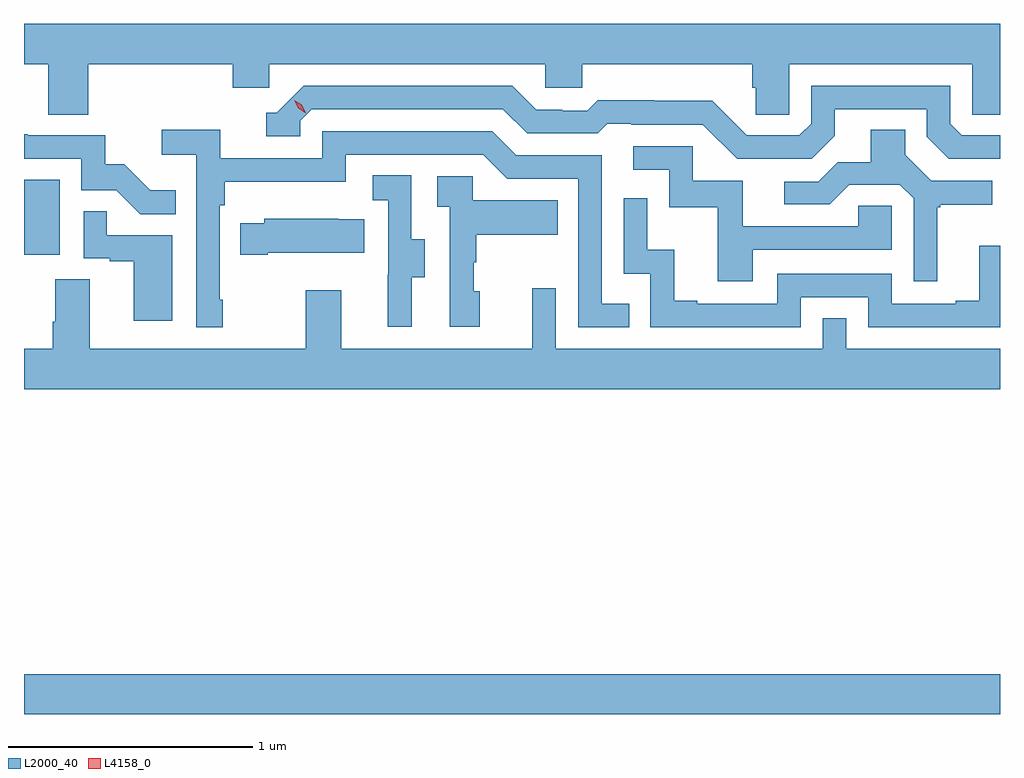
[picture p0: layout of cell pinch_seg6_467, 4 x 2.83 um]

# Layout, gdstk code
import gdstk
lib = gdstk.Library(unit=1e-6, precision=1e-09)
def R(c, l, rs):  # rectangles x0, y0, x1, y1
    for r in rs: c.add(gdstk.rectangle(r[:2], r[2:], *l))
def P(c, l, *ps):  # polygons
    for p in ps: c.add(gdstk.Polygon(p, *l))
L2000_40 = (2000, 40)
L4158_0 = (4158, 0)

pinch_seg6_467 = lib.new_cell('pinch_seg6_467')
R(pinch_seg6_467, L2000_40, [(862.418,919.364,866.418,919.528), (862.418,921.246,862.564,921.553)])
P(pinch_seg6_467, L2000_40, [(862.682,922.028),(863.273,922.028),(863.273,921.93),(863.424,921.93),(863.424,922.028),(864.555,922.028),(864.555,921.93),(864.705,921.93),(864.705,922.028),(865.403,922.028),(865.403,921.93),(865.417,921.93),(865.417,921.82),(865.554,921.82),(865.554,922.028),(866.304,922.028),(866.304,921.82),(866.418,921.82),(866.418,922.192),(862.418,922.192),(862.418,922.028),(862.517,922.028),(862.517,921.82),(862.682,921.82)],
  [(865.741,921.733),(865.741,921.843),(866.118,921.843),(866.118,921.729),(866.208,921.639),(866.418,921.639),(866.418,921.735),(866.262,921.735),(866.214,921.783),(866.214,921.939),(865.644,921.939),(865.644,921.783),(865.596,921.735),(865.38,921.735),(865.238,921.877),(865.002,921.877),(865.002,921.88),(864.769,921.88),(864.727,921.837),(864.624,921.837),(864.624,921.84),(864.517,921.84),(864.418,921.939),(863.565,921.939),(863.454,921.828),(863.411,921.828),(863.411,921.732),(863.55,921.732),(863.55,921.795),(863.598,921.843),(864.381,921.843),(864.48,921.744),(864.769,921.744),(864.808,921.783),(864.907,921.783),(864.907,921.78),(865.2,921.78),(865.341,921.639),(865.647,921.639)],
  [(863.233,921.061),(863.22,921.061),(863.22,921.449),(863.24,921.449),(863.24,921.545),(863.736,921.545),(863.736,921.657),(864.3,921.657),(864.399,921.558),(864.69,921.558),(864.69,920.949),(864.899,920.949),(864.899,921.045),(864.786,921.045),(864.786,921.654),(864.436,921.654),(864.337,921.753),(863.64,921.753),(863.64,921.642),(863.222,921.642),(863.222,921.758),(862.983,921.758),(862.983,921.656),(863.124,921.656),(863.124,920.949),(863.233,920.949)],
  [(866.161,921.441),(866.173,921.441),(866.173,921.452),(866.386,921.452),(866.386,921.549),(866.136,921.549),(866.029,921.656),(866.029,921.758),(865.889,921.758),(865.889,921.626),(865.754,921.626),(865.674,921.546),(865.533,921.546),(865.533,921.453),(865.72,921.453),(865.801,921.534),(866.007,921.534),(866.064,921.477),(866.064,921.138),(866.161,921.138)],
  [(863.039,921.511),(862.935,921.511),(862.828,921.618),(862.752,921.618),(862.752,921.735),(862.433,921.735),(862.433,921.74),(862.418,921.74),(862.418,921.639),(862.653,921.639),(862.653,921.51),(862.797,921.51),(862.895,921.412),(863.039,921.412)],
  [(865.405,921.267),(865.974,921.267),(865.974,921.447),(865.837,921.447),(865.837,921.363),(865.363,921.363),(865.363,921.549),(865.158,921.549),(865.158,921.69),(864.915,921.69),(864.915,921.594),(865.062,921.594),(865.062,921.441),(865.261,921.441),(865.261,921.138),(865.405,921.138)],
  [(864.007,921.154),(864.061,921.154),(864.061,921.309),(864.006,921.309),(864.006,921.572),(863.847,921.572),(863.847,921.469),(863.91,921.469),(863.91,921.165),(863.909,921.165),(863.909,920.952),(864.007,920.952)],
  [(864.286,921.096),(864.261,921.096),(864.261,921.215),(864.271,921.215),(864.271,921.329),(864.605,921.329),(864.605,921.469),(864.258,921.469),(864.258,921.567),(864.111,921.567),(864.111,921.443),(864.162,921.443),(864.162,920.952),(864.286,920.952)],
  [(865.602,921.072),(865.878,921.072),(865.878,920.949),(866.418,920.949),(866.418,921.283),(866.333,921.283),(866.333,921.058),(866.237,921.058),(866.237,921.045),(865.974,921.045),(865.974,921.168),(865.506,921.168),(865.506,921.045),(865.177,921.045),(865.177,921.058),(865.082,921.058),(865.082,921.266),(864.972,921.266),(864.972,921.478),(864.876,921.478),(864.876,921.168),(864.984,921.168),(864.984,920.949),(865.602,920.949)],
  [(863.026,921.327),(862.757,921.327),(862.757,921.425),(862.662,921.425),(862.662,921.231),(862.769,921.231),(862.769,921.219),(862.868,921.219),(862.868,920.976),(863.026,920.976)],
  [(863.416,921.254),(863.813,921.254),(863.813,921.391),(863.705,921.391),(863.705,921.394),(863.403,921.394),(863.403,921.376),(863.305,921.376),(863.305,921.247),(863.416,921.247)],
  [(866.418,920.86),(865.788,920.86),(865.788,920.987),(865.692,920.987),(865.692,920.86),(864.597,920.86),(864.597,921.109),(864.5,921.109),(864.5,920.86),(863.719,920.86),(863.719,921.1),(863.572,921.1),(863.572,920.86),(862.687,920.86),(862.687,921.146),(862.547,921.146),(862.547,920.972),(862.535,920.972),(862.535,920.86),(862.418,920.86),(862.418,920.696),(866.418,920.696)])
P(pinch_seg6_467, L4158_0, [(863.572,921.827),(863.541,921.846),(863.525,921.879),(863.525,921.879),(863.525,921.879),(863.556,921.86),(863.572,921.828),(863.572,921.827)])

lib.write_gds('pinch_seg6_467.gds')
